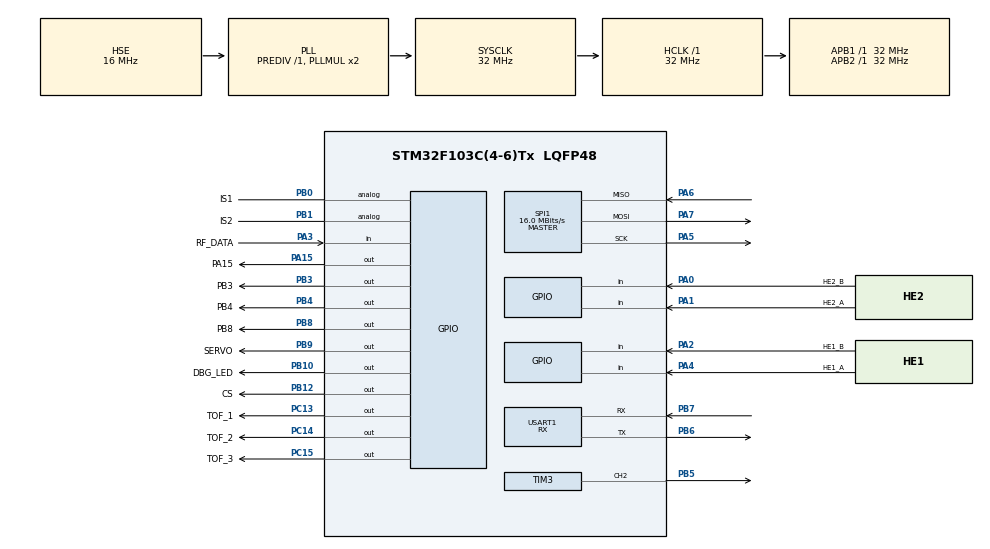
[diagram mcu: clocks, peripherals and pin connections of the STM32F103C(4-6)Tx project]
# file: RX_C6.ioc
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Dma.Request0=USART1_RX
Dma.USART1_RX.0.Direction=DMA_PERIPH_TO_MEMORY
Dma.USART1_RX.0.Instance=DMA1_Channel5
Dma.USART1_RX.0.MemDataAlignment=DMA_MDATAALIGN_BYTE
Dma.USART1_RX.0.MemInc=DMA_MINC_ENABLE
Dma.USART1_RX.0.Mode=DMA_CIRCULAR
Dma.USART1_RX.0.PeriphDataAlignment=DMA_PDATAALIGN_BYTE
Dma.USART1_RX.0.PeriphInc=DMA_PINC_DISABLE
Dma.USART1_RX.0.Priority=DMA_PRIORITY_LOW
Mcu.Family=STM32F1
Mcu.Name=STM32F103C(4-6)Tx
Mcu.Package=LQFP48
NVIC.DMA1_Channel5_IRQn=true\:0\:0\:false\:false\:true\:false\:true\:true
NVIC.PriorityGroup=NVIC_PRIORITYGROUP_4
NVIC.TIM2_IRQn=true\:0\:0\:false\:false\:true\:true\:true\:true
NVIC.USART1_IRQn=true\:0\:0\:false\:false\:true\:true\:true\:true
PA0-WKUP.GPIO_Label=HE2_B
PA0-WKUP.Signal=GPIO_Input
PA1.GPIO_Label=HE2_A
PA1.Signal=GPIO_Input
PA13.Mode=Serial_Wire
PA13.Signal=SYS_JTMS-SWDIO
PA14.Mode=Serial_Wire
PA14.Signal=SYS_JTCK-SWCLK
PA15.GPIO_Label=PA15
PA15.Signal=GPIO_Output
PA2.GPIO_Label=HE1_B
PA2.Signal=GPIO_Input
PA3.GPIO_Label=RF_DATA
PA3.Signal=GPIO_Input
PA4.GPIO_Label=HE1_A
PA4.Signal=GPIO_Input
PA5.Mode=Full_Duplex_Master
PA5.Signal=SPI1_SCK
PA6.Mode=Full_Duplex_Master
PA6.Signal=SPI1_MISO
PA7.Mode=Full_Duplex_Master
PA7.Signal=SPI1_MOSI
PB0.GPIO_Label=IS1
PB0.Signal=GPIO_Analog
PB1.GPIO_Label=IS2
PB1.Signal=GPIO_Analog
PB10.GPIO_Label=DBG_LED
PB10.Signal=GPIO_Output
PB12.GPIO_Label=CS
PB12.Signal=GPIO_Output
PB3.GPIO_Label=PB3
PB3.Signal=GPIO_Output
PB4.GPIO_Label=PB4
PB4.Signal=GPIO_Output
PB5.Signal=S_TIM3_CH2
PB6.Mode=Asynchronous
PB6.Signal=USART1_TX
PB7.Mode=Asynchronous
PB7.Signal=USART1_RX
PB8.GPIO_Label=PB8
PB8.Signal=GPIO_Output
PB9.GPIO_Label=SERVO
PB9.Signal=GPIO_Output
PC13-TAMPER-RTC.GPIO_Label=TOF_1
PC13-TAMPER-RTC.Signal=GPIO_Output
PC14-OSC32_IN.GPIO_Label=TOF_2
PC14-OSC32_IN.Signal=GPIO_Output
PC15-OSC32_OUT.GPIO_Label=TOF_3
PC15-OSC32_OUT.Signal=GPIO_Output
PD0-OSC_IN.Mode=HSE-External-Oscillator
PD0-OSC_IN.Signal=RCC_OSC_IN
PD1-OSC_OUT.Mode=HSE-External-Oscillator
PD1-OSC_OUT.Signal=RCC_OSC_OUT
ProjectManager.HeapSize=0x200
ProjectManager.StackSize=0x400
ProjectManager.TargetToolchain=STM32CubeIDE
RCC.AHBFreq_Value=32000000
RCC.APB1Freq_Value=32000000
RCC.APB1TimFreq_Value=32000000
RCC.APB2Freq_Value=32000000
RCC.APB2TimFreq_Value=32000000
RCC.HCLKFreq_Value=32000000
RCC.HSE_VALUE=16000000
RCC.PLLSourceVirtual=RCC_PLLSOURCE_HSE
RCC.SYSCLKFreq_VALUE=32000000
RCC.SYSCLKSource=RCC_SYSCLKSOURCE_PLLCLK
RCC.USBFreq_Value=32000000
SH.S_TIM3_CH2.0=TIM3_CH2,PWM Generation2 CH2
SPI1.CalculateBaudRate=16.0 MBits/s
SPI1.Direction=SPI_DIRECTION_2LINES
SPI1.Mode=SPI_MODE_MASTER
SPI1.VirtualType=VM_MASTER
TIM2.Period=1999
TIM3.Channel-PWM\ Generation2\ CH2=TIM_CHANNEL_2
TIM3.Period=19999
TIM3.Prescaler=15
USART1.Mode=MODE_RX
USART1.VirtualMode=VM_ASYNC
VP_TIM2_VS_ClockSourceINT.Mode=Internal
board=custom

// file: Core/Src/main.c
/* USER CODE BEGIN Header */
/**
  ******************************************************************************
  * @file           : main.c
  * @brief          : Minimal example for 2 daisy-chained BTM9011 drivers
  *                   Only the SECOND driver moves forward
  ******************************************************************************
  */
/* USER CODE END Header */
#include "main.h"

/* USER CODE BEGIN Includes */
#include "btm9011_simple.h"
#include "ibus.h"
/* USER CODE END Includes */

/* USER CODE BEGIN PD */

// PWM täiteteguri samm
#define MOTOR_PWM_STEPS 32U

// Mootorie miinimum täitetegur
#define MOTOR_DUTY_MIN  2U

// Maksimaalne lubatud servo pööramise samm
#define SERVO_MAX_STEP  25U

/* USER CODE END PD */

SPI_HandleTypeDef hspi1;

TIM_HandleTypeDef htim2;
TIM_HandleTypeDef htim3;

UART_HandleTypeDef huart1;
DMA_HandleTypeDef hdma_usart1_rx;

/* USER CODE BEGIN PV */

// iBus safe hoiab kõiki puldi kanali väärtusi
static uint16_t  ibus_safe[IBUS_USER_CHANNELS] = {0};
// Servo positsiooni muutuja, keskpunktis alustab
volatile uint16_t g_servo_pos = 1500;

/* USER CODE END PV */

void SystemClock_Config(void);
static void MX_GPIO_Init(void);
static void MX_DMA_Init(void);
static void MX_SPI1_Init(void);
static void MX_USART1_UART_Init(void);
static void MX_TIM2_Init(void);
static void MX_TIM3_Init(void);

int main(void)
{

  /* MCU Configuration--------------------------------------------------------*/

  HAL_Init();

  /* Configure the system clock */
  SystemClock_Config();

  /* Initialize all configured peripherals */
  MX_GPIO_Init();
  MX_DMA_Init();
  MX_SPI1_Init();
  MX_USART1_UART_Init();
  MX_TIM2_Init();
  MX_TIM3_Init();
  /* USER CODE BEGIN 2 */

  // Aktiive nullolekuga LED, algselt HIGH, et oleks kustu
  HAL_GPIO_WritePin(DBG_LED_GPIO_Port, DBG_LED_Pin, GPIO_PIN_SET);

  // Mootorite juhtkiibid on kaskaadühenduses kasutades SPI1 ja CS_Pin
  btm_init(&hspi1, CS_GPIO_Port, CS_Pin);

  // Mõlemad mootorid alustavad seiskuna
  btm_brake();

  /* Servo - kasutab TIM3, mis teeb takti ette PWM jaoks
   * Vasak - 1000
   * Kesk - 1500
   * Parem - 3000
  */
  HAL_TIM_PWM_Start(&htim3, TIM_CHANNEL_2);
  __HAL_TIM_SET_COMPARE(&htim3, TIM_CHANNEL_2, 1500);

  // iBus saadab infot PB7 pinnil läbi USART1
  ibus_init();

  /* USER CODE END 2 */

  /* Infinite loop */
  /* USER CODE BEGIN WHILE */

  uint8_t  pwm_count = 0;			// PWM täiteteguri samm
  uint8_t  dir       = BTM_BRAKE;	// Mootorite suund
  uint8_t  duty      = 0;			// Täitetegur

  while (1)
  {
    /* USER CODE END WHILE */

    /* USER CODE BEGIN 3 */

    // Lukustus - kanal 7 (SWA): all = lukus, üleval = sõit lubatud
    if (ibus_safe[6] < 1500) {
      dir  = BTM_BRAKE;
      duty = 0;
    } else {
      // Mootori kiirus ja suund - parem kangi vertikaalne telg (kanal 2)
      // Kesk ~1500 = pidurdus, üles > 1550 = edasi, alla < 1450 = tagurpidi
      uint16_t raw = ibus_safe[1];
      if (raw < 1000) raw = 1000;
      if (raw > 2000) raw = 2000;

      if (raw > 1550) {
        uint16_t mag = raw - 1500;
        duty = MOTOR_DUTY_MIN + (uint8_t)(mag * (MOTOR_PWM_STEPS - MOTOR_DUTY_MIN) / 500);
        dir  = BTM_REVERSE;
      } else if (raw < 1450) {
        uint16_t mag = 1500 - raw;
        duty = MOTOR_DUTY_MIN + (uint8_t)(mag * (MOTOR_PWM_STEPS - MOTOR_DUTY_MIN) / 500);
        dir  = BTM_FORWARD;
      } else {
        dir  = BTM_BRAKE;
        duty = 0;
      }
    }

    if (dir == BTM_BRAKE || pwm_count >= duty)
      btm_brake();
    else
      btm_drive(dir, dir);
    if (++pwm_count >= MOTOR_PWM_STEPS) pwm_count = 0;

  }
  /* USER CODE END 3 */
}

void SystemClock_Config(void)
{
  RCC_OscInitTypeDef RCC_OscInitStruct = {0};
  RCC_ClkInitTypeDef RCC_ClkInitStruct = {0};

  /** Initializes the RCC Oscillators according to the specified parameters
  * in the RCC_OscInitTypeDef structure.
  */
  RCC_OscInitStruct.OscillatorType = RCC_OSCILLATORTYPE_HSE;
  RCC_OscInitStruct.HSEState = RCC_HSE_ON;
  RCC_OscInitStruct.HSEPredivValue = RCC_HSE_PREDIV_DIV1;
  RCC_OscInitStruct.HSIState = RCC_HSI_ON;
  RCC_OscInitStruct.PLL.PLLState = RCC_PLL_ON;
  RCC_OscInitStruct.PLL.PLLSource = RCC_PLLSOURCE_HSE;
  RCC_OscInitStruct.PLL.PLLMUL = RCC_PLL_MUL2;
  if (HAL_RCC_OscConfig(&RCC_OscInitStruct) != HAL_OK)
  {
    Error_Handler();
  }

  /** Initializes the CPU, AHB and APB buses clocks
  */
  RCC_ClkInitStruct.ClockType = RCC_CLOCKTYPE_HCLK|RCC_CLOCKTYPE_SYSCLK
                              |RCC_CLOCKTYPE_PCLK1|RCC_CLOCKTYPE_PCLK2;
  RCC_ClkInitStruct.SYSCLKSource = RCC_SYSCLKSOURCE_PLLCLK;
  RCC_ClkInitStruct.AHBCLKDivider = RCC_SYSCLK_DIV1;
  RCC_ClkInitStruct.APB1CLKDivider = RCC_HCLK_DIV1;
  RCC_ClkInitStruct.APB2CLKDivider = RCC_HCLK_DIV1;

  if (HAL_RCC_ClockConfig(&RCC_ClkInitStruct, FLASH_LATENCY_1) != HAL_OK)
  {
    Error_Handler();
  }
}

static void MX_SPI1_Init(void)
{

  /* SPI1 parameter configuration*/
  hspi1.Instance = SPI1;
  hspi1.Init.Mode = SPI_MODE_MASTER;
  hspi1.Init.Direction = SPI_DIRECTION_2LINES;
  hspi1.Init.DataSize = SPI_DATASIZE_8BIT;
  hspi1.Init.CLKPolarity = SPI_POLARITY_LOW;
  hspi1.Init.CLKPhase = SPI_PHASE_1EDGE;
  hspi1.Init.NSS = SPI_NSS_SOFT;
  hspi1.Init.BaudRatePrescaler = SPI_BAUDRATEPRESCALER_2;
  hspi1.Init.FirstBit = SPI_FIRSTBIT_MSB;
  hspi1.Init.TIMode = SPI_TIMODE_DISABLE;
  hspi1.Init.CRCCalculation = SPI_CRCCALCULATION_DISABLE;
  hspi1.Init.CRCPolynomial = 10;
  if (HAL_SPI_Init(&hspi1) != HAL_OK)
  {
    Error_Handler();
  }

}

static void MX_TIM2_Init(void)
{

  TIM_ClockConfigTypeDef sClockSourceConfig = {0};
  TIM_MasterConfigTypeDef sMasterConfig = {0};

  htim2.Instance = TIM2;
  htim2.Init.Prescaler = 0;
  htim2.Init.CounterMode = TIM_COUNTERMODE_UP;
  htim2.Init.Period = 1999;
  htim2.Init.ClockDivision = TIM_CLOCKDIVISION_DIV1;
  htim2.Init.AutoReloadPreload = TIM_AUTORELOAD_PRELOAD_DISABLE;
  if (HAL_TIM_Base_Init(&htim2) != HAL_OK)
  {
    Error_Handler();
  }
  sClockSourceConfig.ClockSource = TIM_CLOCKSOURCE_INTERNAL;
  if (HAL_TIM_ConfigClockSource(&htim2, &sClockSourceConfig) != HAL_OK)
  {
    Error_Handler();
  }
  sMasterConfig.MasterOutputTrigger = TIM_TRGO_RESET;
  sMasterConfig.MasterSlaveMode = TIM_MASTERSLAVEMODE_DISABLE;
  if (HAL_TIMEx_MasterConfigSynchronization(&htim2, &sMasterConfig) != HAL_OK)
  {
    Error_Handler();
  }

}

static void MX_TIM3_Init(void)
{

  TIM_MasterConfigTypeDef sMasterConfig = {0};
  TIM_OC_InitTypeDef sConfigOC = {0};

  htim3.Instance = TIM3;
  htim3.Init.Prescaler = 15;
  htim3.Init.CounterMode = TIM_COUNTERMODE_UP;
  htim3.Init.Period = 19999;
  htim3.Init.ClockDivision = TIM_CLOCKDIVISION_DIV1;
  htim3.Init.AutoReloadPreload = TIM_AUTORELOAD_PRELOAD_DISABLE;
  if (HAL_TIM_PWM_Init(&htim3) != HAL_OK)
  {
    Error_Handler();
  }
  sMasterConfig.MasterOutputTrigger = TIM_TRGO_RESET;
  sMasterConfig.MasterSlaveMode = TIM_MASTERSLAVEMODE_DISABLE;
  if (HAL_TIMEx_MasterConfigSynchronization(&htim3, &sMasterConfig) != HAL_OK)
  {
    Error_Handler();
  }
  sConfigOC.OCMode = TIM_OCMODE_PWM1;
  sConfigOC.Pulse = 0;
  sConfigOC.OCPolarity = TIM_OCPOLARITY_HIGH;
  sConfigOC.OCFastMode = TIM_OCFAST_DISABLE;
  if (HAL_TIM_PWM_ConfigChannel(&htim3, &sConfigOC, TIM_CHANNEL_2) != HAL_OK)
  {
    Error_Handler();
  }
  HAL_TIM_MspPostInit(&htim3);

}

static void MX_USART1_UART_Init(void)
{

  huart1.Instance = USART1;
  huart1.Init.BaudRate = 115200;
  huart1.Init.WordLength = UART_WORDLENGTH_8B;
  huart1.Init.StopBits = UART_STOPBITS_1;
  huart1.Init.Parity = UART_PARITY_NONE;
  huart1.Init.Mode = UART_MODE_RX;
  huart1.Init.HwFlowCtl = UART_HWCONTROL_NONE;
  huart1.Init.OverSampling = UART_OVERSAMPLING_16;
  if (HAL_UART_Init(&huart1) != HAL_OK)
  {
    Error_Handler();
  }

}

static void MX_DMA_Init(void)
{

  /* DMA controller clock enable */
  __HAL_RCC_DMA1_CLK_ENABLE();

  /* DMA interrupt init */
  /* DMA1_Channel5_IRQn interrupt configuration */
  HAL_NVIC_SetPriority(DMA1_Channel5_IRQn, 0, 0);
  HAL_NVIC_EnableIRQ(DMA1_Channel5_IRQn);

}

static void MX_GPIO_Init(void)
{
  GPIO_InitTypeDef GPIO_InitStruct = {0};

  /* GPIO Ports Clock Enable */
  __HAL_RCC_GPIOC_CLK_ENABLE();
  __HAL_RCC_GPIOD_CLK_ENABLE();
  __HAL_RCC_GPIOA_CLK_ENABLE();
  __HAL_RCC_GPIOB_CLK_ENABLE();

  /*Configure GPIO pin Output Level */
  HAL_GPIO_WritePin(GPIOC, TOF_1_Pin|TOF_2_Pin|TOF_3_Pin, GPIO_PIN_RESET);

  /*Configure GPIO pin Output Level */
  HAL_GPIO_WritePin(GPIOB, DBG_LED_Pin|CS_Pin|PB3_Pin|PB4_Pin
                          |PB8_Pin|SERVO_Pin, GPIO_PIN_RESET);

  /*Configure GPIO pin Output Level */
  HAL_GPIO_WritePin(PA15_GPIO_Port, PA15_Pin, GPIO_PIN_RESET);

  /*Configure GPIO pins : TOF_1_Pin TOF_2_Pin TOF_3_Pin */
  GPIO_InitStruct.Pin = TOF_1_Pin|TOF_2_Pin|TOF_3_Pin;
  GPIO_InitStruct.Mode = GPIO_MODE_OUTPUT_PP;
  GPIO_InitStruct.Pull = GPIO_NOPULL;
  GPIO_InitStruct.Speed = GPIO_SPEED_FREQ_LOW;
  HAL_GPIO_Init(GPIOC, &GPIO_InitStruct);

  /*Configure GPIO pins : HE2_B_Pin HE2_A_Pin HE1_B_Pin RF_DATA_Pin
                           HE1_A_Pin */
  GPIO_InitStruct.Pin = HE2_B_Pin|HE2_A_Pin|HE1_B_Pin|RF_DATA_Pin
                          |HE1_A_Pin;
  GPIO_InitStruct.Mode = GPIO_MODE_INPUT;
  GPIO_InitStruct.Pull = GPIO_NOPULL;
  HAL_GPIO_Init(GPIOA, &GPIO_InitStruct);

  /*Configure GPIO pins : IS1_Pin IS2_Pin */
  GPIO_InitStruct.Pin = IS1_Pin|IS2_Pin;
  GPIO_InitStruct.Mode = GPIO_MODE_ANALOG;
  HAL_GPIO_Init(GPIOB, &GPIO_InitStruct);

  /*Configure GPIO pins : DBG_LED_Pin CS_Pin PB3_Pin PB4_Pin
                           PB8_Pin SERVO_Pin */
  GPIO_InitStruct.Pin = DBG_LED_Pin|CS_Pin|PB3_Pin|PB4_Pin
                          |PB8_Pin|SERVO_Pin;
  GPIO_InitStruct.Mode = GPIO_MODE_OUTPUT_PP;
  GPIO_InitStruct.Pull = GPIO_NOPULL;
  GPIO_InitStruct.Speed = GPIO_SPEED_FREQ_LOW;
  HAL_GPIO_Init(GPIOB, &GPIO_InitStruct);

  /*Configure GPIO pin : PA15_Pin */
  GPIO_InitStruct.Pin = PA15_Pin;
  GPIO_InitStruct.Mode = GPIO_MODE_OUTPUT_PP;
  GPIO_InitStruct.Pull = GPIO_NOPULL;
  GPIO_InitStruct.Speed = GPIO_SPEED_FREQ_LOW;
  HAL_GPIO_Init(PA15_GPIO_Port, &GPIO_InitStruct);

}

/* USER CODE BEGIN 4 */

/* TIM2 fires at 16 000 Hz — feeds the RF433 bit-sampling state machine
void HAL_TIM_PeriodElapsedCallback(TIM_HandleTypeDef *htim)
{
  if (htim->Instance == TIM2)
    RF433_TimerISR(&hrf);
}*/

void HAL_UART_RxCpltCallback(UART_HandleTypeDef *huart)
{
	// Võrdleb kas sisse tulev UART info on USART1 või mitte
	// Kui ei ole lõpetab Callbacki
  if (huart->Instance != USART1) return;

  /* Alustab uuesti failsafe lugejat
   * kui mingi ajatagant ei saa infot paneb kõik kinni
   *
   * iBus read täidab seda muutujat uuesti */
  ibus_reset_failsafe();
  ibus_read(ibus_safe);

  // Lukustus - kui kanal 7 all, servo ei reageeri
  if (ibus_safe[6] < 1500) return;

  // Servomootoriga pööramine - vasak kangi horisontaalne telg (kanal 4)
  uint16_t servo_target = ibus_safe[3];
  // Min ja Max piiramine
  if (servo_target < 1000) servo_target = 1000;
  if (servo_target > 2000) servo_target = 2000;

  // Pööramine on tagurpidi, see pöörab tagasi
  servo_target = 3000 - servo_target;
  /* Piirab pööramis kiirust, kui liiga äkiline liigutus
   * tõmbab liiga palju voolu ja lükkab MCU imelikku oleku
   * kus kõik lõpetab töötamise */
  if      (servo_target > g_servo_pos + SERVO_MAX_STEP) g_servo_pos += SERVO_MAX_STEP;
  else if (servo_target + SERVO_MAX_STEP < g_servo_pos) g_servo_pos -= SERVO_MAX_STEP;
  else                                                  g_servo_pos  = servo_target;
  // Määrab lõpuks servomootori nurga
  __HAL_TIM_SET_COMPARE(&htim3, TIM_CHANNEL_2, g_servo_pos);
}

/* USER CODE END 4 */

void Error_Handler(void)
{
  __disable_irq();
  while (1)
  {
  }
}
